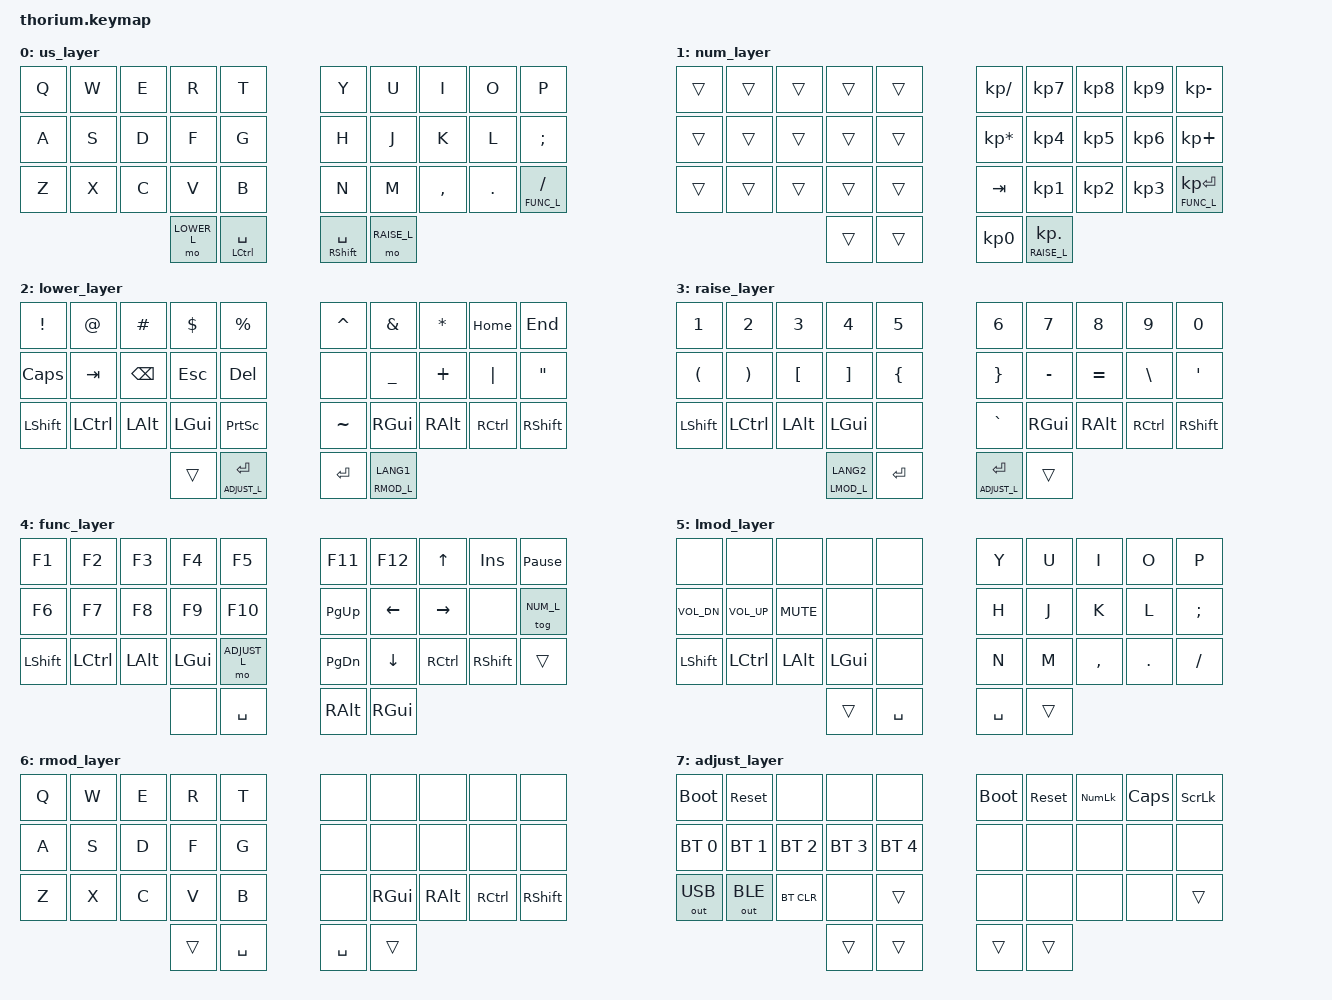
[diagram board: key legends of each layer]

#pragma once

#include <behaviors.dtsi>
#include <dt-bindings/zmk/keys.h>
#include <dt-bindings/zmk/bt.h>
#include <dt-bindings/zmk/outputs.h>

/* layer */
#define US_L 0
#define NUM_L 1
#define LOWER_L 2
#define RAISE_L 3
#define FUNC_L 4
#define LMOD_L 5
#define RMOD_L 6
#define ADJUST_L 7

/* keycode */
#define XXXXXXX &none
#define _______ &trans

#define CTLSPC &mt LCTRL SPACE
#define SFTSPC &mt RSHFT SPACE
#define LOWER &mo LOWER_L
#define RAISE &mo RAISE_L
#define FUNCSL &lt FUNC_L SLASH
#define ADJENT &lt ADJUST_L ENTER

#define FUNCPE &lt FUNC_L KP_ENTER
#define RAISEPD &lt RAISE_L KP_DOT

#define RMOD &lt RMOD_L LANG1

#define LMOD &lt LMOD_L LANG2

#define ADJUST &mo ADJUST_L
#define NUML &tog NUM_L

/* device tree */

&mt {
    tapping-term-ms = <200>;
    quick-tap-ms = <200>;
};

&lt {
    tapping-term-ms = <200>;
    quick-tap-ms = <200>;
};

/ {
    keymap {
        compatible = "zmk,keymap";
        us_layer {
            bindings = <
                &kp Q     &kp W     &kp E     &kp R     &kp T     &kp Y     &kp U     &kp I     &kp O     &kp P
                &kp A     &kp S     &kp D     &kp F     &kp G     &kp H     &kp J     &kp K     &kp L     &kp SEMI
                &kp Z     &kp X     &kp C     &kp V     &kp B     &kp N     &kp M     &kp COMMA &kp DOT   FUNCSL
                                        LOWER     CTLSPC    SFTSPC    RAISE
            >;
        };
        num_layer {
            bindings = <
                _______   _______   _______   _______   _______   &kp KP_SLASH    &kp KP_N7    &kp KP_N8 &kp KP_N9 &kp KP_MINUS
                _______   _______   _______   _______   _______   &kp KP_ASTERISK &kp KP_N4    &kp KP_N5 &kp KP_N6 &kp KP_PLUS
                _______   _______   _______   _______   _______   &kp TAB         &kp KP_N1    &kp KP_N2 &kp KP_N3 FUNCPE
                                  _______   _______   &kp KP_N0       RAISEPD
            >;
        };
        lower_layer {
            bindings = <
                &kp EXCL  &kp AT    &kp HASH  &kp DLLR  &kp PRCNT &kp CARET &kp AMPS  &kp ASTRK &kp HOME  &kp END
                &kp CAPS  &kp TAB   &kp BSPC  &kp ESC   &kp DEL   XXXXXXX   &kp UNDER &kp PLUS  &kp PIPE  &kp DQT
                &kp LSHFT &kp LCTRL &kp LALT  &kp LGUI  &kp PSCRN &kp TILDE &kp RGUI  &kp RALT  &kp RCTRL &kp RSHFT
                                  _______   ADJENT    &kp ENTER RMOD
            >;
        };
        raise_layer {
            bindings = <
                &kp N1    &kp N2    &kp N3    &kp N4    &kp N5    &kp N6    &kp N7    &kp N8    &kp N9    &kp N0
                &kp LPAR  &kp RPAR  &kp LBKT  &kp RBKT  &kp LBRC  &kp RBRC  &kp MINUS &kp EQUAL &kp BSLH  &kp SQT
                &kp LSHFT &kp LCTRL &kp LALT  &kp LGUI  XXXXXXX   &kp GRAVE &kp RGUI  &kp RALT  &kp RCTRL &kp RSHFT
                                  LMOD      &kp ENTER ADJENT    _______
            >;
        };
        func_layer {
            bindings = <
                &kp F1    &kp F2    &kp F3    &kp F4    &kp F5    &kp F11   &kp F12   &kp UP     &kp INS   &kp PAUSE_BREAK
                &kp F6    &kp F7    &kp F8    &kp F9    &kp F10   &kp PG_UP &kp LEFT  &kp RIGHT  XXXXXXX   NUML
                &kp LSHFT &kp LCTRL &kp LALT  &kp LGUI  ADJUST    &kp PG_DN &kp DOWN  &kp RCTRL  &kp RSHFT _______
                                  XXXXXXX   &kp SPACE &kp RALT  &kp RGUI
            >;
        };
        lmod_layer {
            bindings = <
                XXXXXXX      XXXXXXX      XXXXXXX    XXXXXXX  XXXXXXX   &kp Y     &kp U     &kp I     &kp O     &kp P
                &kp C_VOL_DN &kp C_VOL_UP &kp C_MUTE XXXXXXX  XXXXXXX   &kp H     &kp J     &kp K     &kp L     &kp SEMI
                &kp LSHFT    &kp LCTRL    &kp LALT   &kp LGUI XXXXXXX   &kp N     &kp M     &kp COMMA &kp DOT   &kp SLASH
                                         _______  &kp SPACE &kp SPACE _______
            >;
        };
        rmod_layer {
            bindings = <
                &kp Q     &kp W     &kp E     &kp R     &kp T     XXXXXXX    XXXXXXX   XXXXXXX   XXXXXXX   XXXXXXX
                &kp A     &kp S     &kp D     &kp F     &kp G     XXXXXXX    XXXXXXX   XXXXXXX   XXXXXXX   XXXXXXX
                &kp Z     &kp X     &kp C     &kp V     &kp B     XXXXXXX    &kp RGUI  &kp RALT  &kp RCTRL &kp RSHFT
                                  _______   &kp SPACE &kp SPACE  _______
            >;
        };
        adjust_layer {
            bindings = <
                &bootloader  &sys_reset   XXXXXXX      XXXXXXX      XXXXXXX      &bootloader &sys_reset &kp KP_NUM &kp CAPS &kp SLCK
                &bt BT_SEL 0 &bt BT_SEL 1 &bt BT_SEL 2 &bt BT_SEL 3 &bt BT_SEL 4 XXXXXXX     XXXXXXX    XXXXXXX    XXXXXXX  XXXXXXX
                &out OUT_USB &out OUT_BLE &bt BT_CLR   XXXXXXX      _______      XXXXXXX     XXXXXXX    XXXXXXX    XXXXXXX  _______
                                           _______      _______      _______     _______
            >;
        };
    };
};
